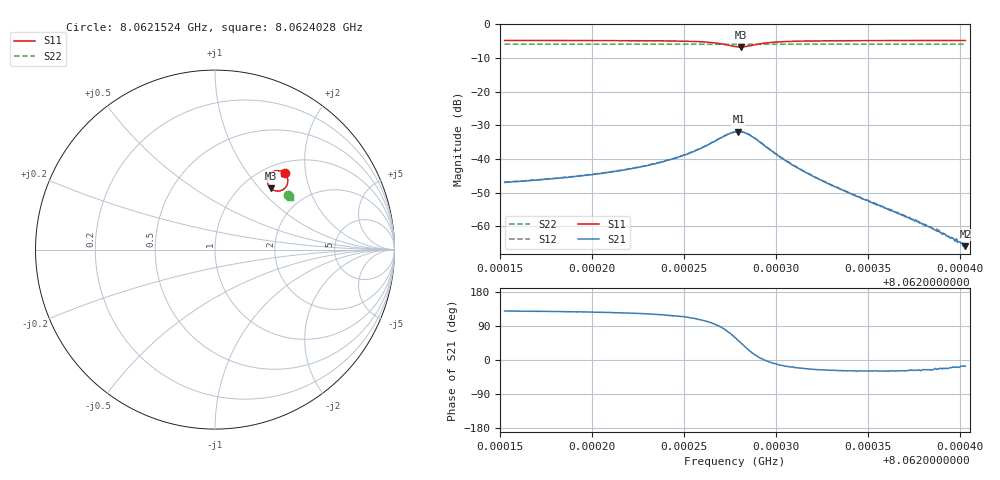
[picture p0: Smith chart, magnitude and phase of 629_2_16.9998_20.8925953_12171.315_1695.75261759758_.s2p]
#  HZ  S  RI  R  50.00
! Rohde & Schwarz Vector Network Analyzer
! Rohde-Schwarz,ZNB20-2Port,1311601062101988,3.16
! Created: UTC 3/20/2024, 11:20:16 PM
! freq[Hz]  re:S11  im:S11  re:S21  im:S21  re:S12  im:S12  re:S22  im:S22
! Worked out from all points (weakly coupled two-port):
!   401 points, 8.0621524 GHz to 8.0624028 GHz, reference 50 ohm
!   highest |S21| = -31.89 dB at 8.0622795 GHz (marker M1); lowest = -65.9 dB at 8.0624028 GHz (marker M2)
!   lowest |S11| = -6.7 dB at 8.0622807 GHz (marker M3), VSWR 2.71, Z = 66.3 + j57.6 ohm
!   |S11| at or under -10 dB: nowhere
!   |S22| runs from -6.0 to -5.9 dB; largest |S21 - S12| = 0.0014
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8.06215243e9  0.3883 0.4252  -0.00285 0.00345  -0.00266 0.00366  0.4076 0.3031
8.06219436e9  0.3937 0.419  -0.00339 0.0045  -0.00313 0.0047  0.409 0.3008
8.06221689e9  0.3978 0.4128  -0.00385 0.00563  -0.00354 0.00591  0.4099 0.2992
8.06223629e9  0.4024 0.4034  -0.00438 0.00759  -0.00394 0.00788  0.4105 0.298
8.06225194e9  0.4059 0.3871  -0.00459 0.011  -0.00393 0.0113  0.4111 0.2965
8.06226508e9  0.3997 0.3567  -0.00236 0.0174  -0.00122 0.0175  0.4108 0.2946
8.06227321e9  0.3686 0.3295  0.00522 0.0223  0.00648 0.0221  0.4095 0.2935
8.06227759e9  0.3343 0.3278  0.0128 0.0216  0.014 0.0211  0.408 0.2938
8.06227947e9  0.3186 0.3346  0.0161 0.0197  0.0171 0.019  0.4075 0.294
8.06228072e9  0.3094 0.3417  0.0179 0.018  0.0188 0.0171  0.4073 0.2945
8.06228573e9  0.292 0.3811  0.0207 0.00884  0.0213 0.00782  0.4071 0.2961
8.06229449e9  0.3123 0.4266  0.015 -0.000468  0.0153 -0.00137  0.409 0.2975
8.06230263e9  0.3342 0.438  0.0101 -0.00254  0.0101 -0.00303  0.4104 0.2973
8.06230888e9  0.3456 0.4399  0.0076 -0.00258  0.00767 -0.00322  0.4112 0.2969
8.06231952e9  0.358 0.4394  0.00511 -0.00232  0.00498 -0.00269  0.412 0.2962
8.06233579e9  0.3687 0.4365  0.00304 -0.00165  0.00299 -0.00185  0.4131 0.2952
8.06236145e9  0.3774 0.4327  0.00152 -0.00083  0.0015 -0.000964  0.4141 0.2937
8.06238398e9  0.3819 0.4299  0.000864 -0.000426  0.000856 -0.000466  0.4151 0.2923
8.06238773e9  0.3826 0.4294  0.000767 -0.000332  0.000775 -0.000394  0.4151 0.2921
8.06239024e9  0.383 0.4294  0.00072 -0.000317  0.000664 -0.000351  0.4152 0.292
8.062399e9  0.3842 0.4284  0.000556 -0.000195  0.000527 -0.000229  0.4155 0.2915
8.06240275e9  0.3849 0.4281  0.000485 -0.000143  0.000511 -0.000173  0.4158 0.2913
